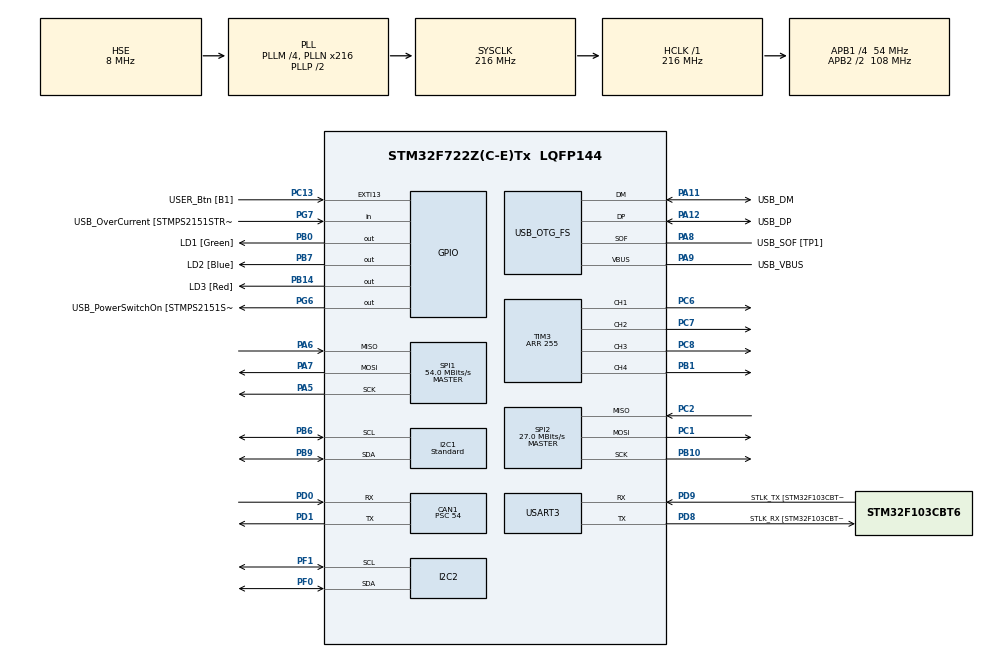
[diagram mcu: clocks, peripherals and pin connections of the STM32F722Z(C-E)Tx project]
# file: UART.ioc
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CAN1.BS1=CAN_BS1_6TQ
CAN1.CalculateBaudRate=125000
CAN1.CalculateTimeBit=8000
CAN1.CalculateTimeQuantum=1000.0
CAN1.Prescaler=54
I2C1.I2C_Speed_Mode=I2C_Standard
I2C1.Timing=0x20404768
I2C2.Timing=0x20404768
Mcu.Family=STM32F7
Mcu.Name=STM32F722Z(C-E)Tx
Mcu.Package=LQFP144
NVIC.PriorityGroup=NVIC_PRIORITYGROUP_4
NVIC.TIM3_IRQn=true\:0\:0\:false\:false\:true\:true\:true\:true
NVIC.USART3_IRQn=true\:0\:0\:false\:false\:true\:true\:true\:true
PA10.GPIO_Label=USB_ID
PA10.Signal=USB_OTG_FS_ID
PA11.GPIO_Label=USB_DM
PA11.Mode=Device_Only
PA11.Signal=USB_OTG_FS_DM
PA12.GPIO_Label=USB_DP
PA12.Mode=Device_Only
PA12.Signal=USB_OTG_FS_DP
PA13.GPIO_Label=TMS
PA13.Mode=Serial_Wire
PA13.Signal=SYS_JTMS-SWDIO
PA14.GPIO_Label=TCK
PA14.Mode=Serial_Wire
PA14.Signal=SYS_JTCK-SWCLK
PA5.Mode=Full_Duplex_Master
PA5.Signal=SPI1_SCK
PA6.Mode=Full_Duplex_Master
PA6.Signal=SPI1_MISO
PA7.Mode=Full_Duplex_Master
PA7.Signal=SPI1_MOSI
PA8.GPIO_Label=USB_SOF [TP1]
PA8.Mode=Activate_SOF_FS
PA8.Signal=USB_OTG_FS_SOF
PA9.GPIO_Label=USB_VBUS
PA9.Mode=Activate_VBUS
PA9.Signal=USB_OTG_FS_VBUS
PB0.GPIO_Label=LD1 [Green]
PB0.Signal=GPIO_Output
PB1.Signal=S_TIM3_CH4
PB10.Mode=Full_Duplex_Master
PB10.Signal=SPI2_SCK
PB14.GPIO_Label=LD3 [Red]
PB14.Signal=GPIO_Output
PB3.GPIO_Label=SWO
PB3.Signal=SYS_JTDO-SWO
PB6.Mode=I2C
PB6.Signal=I2C1_SCL
PB7.GPIO_Label=LD2 [Blue]
PB7.Signal=GPIO_Output
PB9.Mode=I2C
PB9.Signal=I2C1_SDA
PC1.Mode=Full_Duplex_Master
PC1.Signal=SPI2_MOSI
PC13.GPIO_Label=USER_Btn [B1]
PC13.Signal=GPXTI13
PC14-OSC32_IN.Mode=LSE-External-Oscillator
PC14-OSC32_IN.Signal=RCC_OSC32_IN
PC15-OSC32_OUT.Mode=LSE-External-Oscillator
PC15-OSC32_OUT.Signal=RCC_OSC32_OUT
PC2.Mode=Full_Duplex_Master
PC2.Signal=SPI2_MISO
PC6.Signal=S_TIM3_CH1
PC7.Signal=S_TIM3_CH2
PC8.Signal=S_TIM3_CH3
PD0.Mode=CAN_Activate
PD0.Signal=CAN1_RX
PD1.Mode=CAN_Activate
PD1.Signal=CAN1_TX
PD8.GPIO_Label=STLK_RX [STM32F103CBT6_PA3]
PD8.Mode=Asynchronous
PD8.Signal=USART3_TX
PD9.GPIO_Label=STLK_TX [STM32F103CBT6_PA2]
PD9.Mode=Asynchronous
PD9.Signal=USART3_RX
PF0.Mode=I2C
PF0.Signal=I2C2_SDA
PF1.Mode=I2C
PF1.Signal=I2C2_SCL
PG6.GPIO_Label=USB_PowerSwitchOn [STMPS2151STR_EN]
PG6.Signal=GPIO_Output
PG7.GPIO_Label=USB_OverCurrent [STMPS2151STR_FAULT]
PG7.Signal=GPIO_Input
PH0-OSC_IN.GPIO_Label=MCO
PH0-OSC_IN.Mode=HSE-External-Clock-Source
PH0-OSC_IN.Signal=RCC_OSC_IN
PH1-OSC_OUT.Mode=HSE-External-Clock-Source
PH1-OSC_OUT.Signal=RCC_OSC_OUT
ProjectManager.HeapSize=0x200
ProjectManager.StackSize=0x400
ProjectManager.TargetToolchain=STM32CubeIDE
RCC.48MHZClocksFreq_Value=24000000
RCC.AHBFreq_Value=216000000
RCC.APB1CLKDivider=RCC_HCLK_DIV4
RCC.APB1Freq_Value=54000000
RCC.APB1TimFreq_Value=108000000
RCC.APB2CLKDivider=RCC_HCLK_DIV2
RCC.APB2Freq_Value=108000000
RCC.APB2TimFreq_Value=216000000
RCC.CortexFreq_Value=216000000
RCC.HCLKFreq_Value=216000000
RCC.HSE_VALUE=8000000
RCC.HSI_VALUE=16000000
RCC.PLLM=4
RCC.PLLMUL=RCC_PLL_MUL9
RCC.PLLN=216
RCC.PLLQ=9
RCC.PRESCALERUSB=RCC_USBCLKSOURCE_PLL_DIV1_5
RCC.SYSCLKFreq_VALUE=216000000
RCC.SYSCLKSource=RCC_SYSCLKSOURCE_PLLCLK
RCC.SYSCLKSourceVirtual=RCC_SYSCLKSOURCE_PLLCLK
RCC.USBFreq_Value=48000000
RCC.VCOOutputFreq_Value=432000000
SH.S_TIM3_CH1.0=TIM3_CH1,PWM Generation1 CH1
SH.S_TIM3_CH2.0=TIM3_CH2,PWM Generation2 CH2
SH.S_TIM3_CH3.0=TIM3_CH3,PWM Generation3 CH3
SH.S_TIM3_CH4.0=TIM3_CH4,PWM Generation4 CH4
SPI1.CalculateBaudRate=54.0 MBits/s
SPI1.Direction=SPI_DIRECTION_2LINES
SPI1.Mode=SPI_MODE_MASTER
SPI1.VirtualType=VM_MASTER
SPI2.CalculateBaudRate=27.0 MBits/s
SPI2.Direction=SPI_DIRECTION_2LINES
SPI2.Mode=SPI_MODE_MASTER
SPI2.VirtualType=VM_MASTER
TIM3.AutoReloadPreload=TIM_AUTORELOAD_PRELOAD_ENABLE
TIM3.Channel-PWM\ Generation1\ CH1=TIM_CHANNEL_1
TIM3.Channel-PWM\ Generation2\ CH2=TIM_CHANNEL_2
TIM3.Channel-PWM\ Generation3\ CH3=TIM_CHANNEL_3
TIM3.Channel-PWM\ Generation4\ CH4=TIM_CHANNEL_4
TIM3.Period=255
TIM3.Pulse-PWM\ Generation1\ CH1=30000
TIM3.Pulse-PWM\ Generation4\ CH4=30000
USART3.VirtualMode-Asynchronous=VM_ASYNC
USB_OTG_FS.VirtualMode=Device_Only
VP_TIM3_VS_ClockSourceINT.Mode=Internal
board=NUCLEO-F722ZE

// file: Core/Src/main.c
/* USER CODE BEGIN Header */
/**
  ******************************************************************************
  * @file           : main.c
  * @brief          : Main program body
  ******************************************************************************
  * @attention
  *
  * Copyright (c) 2025 STMicroelectronics.
  * All rights reserved.
  *
  * This software is licensed under terms that can be found in the LICENSE file
  * in the root directory of this software component.
  * If no LICENSE file comes with this software, it is provided AS-IS.
  *
  ******************************************************************************
  */
/* USER CODE END Header */
#include "main.h"

CAN_HandleTypeDef hcan1;

I2C_HandleTypeDef hi2c1;
I2C_HandleTypeDef hi2c2;

SPI_HandleTypeDef hspi1;
SPI_HandleTypeDef hspi2;

TIM_HandleTypeDef htim3;

UART_HandleTypeDef huart3;

PCD_HandleTypeDef hpcd_USB_OTG_FS;

/* USER CODE BEGIN PV */

char TX[] = "Connected\r\n";
char RX[2];
int msg_app = 0;
int msg_sep = 0;
int msg_end = 0;

/* USER CODE END PV */

void SystemClock_Config(void);
static void MX_GPIO_Init(void);
static void MX_USART3_UART_Init(void);
static void MX_USB_OTG_FS_PCD_Init(void);
static void MX_I2C1_Init(void);
static void MX_SPI1_Init(void);
static void MX_TIM3_Init(void);
static void MX_CAN1_Init(void);
static void MX_SPI2_Init(void);
static void MX_I2C2_Init(void);

int main(void)
{

  /* MCU Configuration--------------------------------------------------------*/

  /* Reset of all peripherals, Initializes the Flash interface and the Systick. */
  HAL_Init();

  /* Configure the system clock */
  SystemClock_Config();

  /* Initialize all configured peripherals */
  MX_GPIO_Init();
  MX_USART3_UART_Init();
  MX_USB_OTG_FS_PCD_Init();
  MX_I2C1_Init();
  MX_SPI1_Init();
  MX_TIM3_Init();
  MX_CAN1_Init();
  MX_SPI2_Init();
  MX_I2C2_Init();
  /* USER CODE BEGIN 2 */
  HAL_UART_Transmit(&huart3, TX, strlen(TX), HAL_MAX_DELAY);
  HAL_TIM_PWM_Start(&htim3, TIM_CHANNEL_1);
  /* USER CODE END 2 */

  /* Infinite loop */
  /* USER CODE BEGIN WHILE */
  while (1)
  {

	  HAL_UART_Receive_IT(&huart3, RX, 1);
    /* USER CODE END WHILE */

    /* USER CODE BEGIN 3 */

	if (msg_app == 1)
	{
		msg_app = 0;
		append_msg(RX);
	}
	else if (msg_sep == 1)
	{
		msg_sep = 0;
		separate_msg(RX);
	}
	else if (msg_end == 1)
	{
		msg_end = 0;
		end_msg(RX);

	}

  }

  /* USER CODE END 3 */
}

void SystemClock_Config(void)
{
  RCC_OscInitTypeDef RCC_OscInitStruct = {0};
  RCC_ClkInitTypeDef RCC_ClkInitStruct = {0};

  /** Configure LSE Drive Capability
  */
  HAL_PWR_EnableBkUpAccess();

  /** Configure the main internal regulator output voltage
  */
  __HAL_RCC_PWR_CLK_ENABLE();
  __HAL_PWR_VOLTAGESCALING_CONFIG(PWR_REGULATOR_VOLTAGE_SCALE1);

  /** Initializes the RCC Oscillators according to the specified parameters
  * in the RCC_OscInitTypeDef structure.
  */
  RCC_OscInitStruct.OscillatorType = RCC_OSCILLATORTYPE_HSE;
  RCC_OscInitStruct.HSEState = RCC_HSE_BYPASS;
  RCC_OscInitStruct.PLL.PLLState = RCC_PLL_ON;
  RCC_OscInitStruct.PLL.PLLSource = RCC_PLLSOURCE_HSE;
  RCC_OscInitStruct.PLL.PLLM = 4;
  RCC_OscInitStruct.PLL.PLLN = 216;
  RCC_OscInitStruct.PLL.PLLP = RCC_PLLP_DIV2;
  RCC_OscInitStruct.PLL.PLLQ = 9;
  if (HAL_RCC_OscConfig(&RCC_OscInitStruct) != HAL_OK)
  {
    Error_Handler();
  }

  /** Activate the Over-Drive mode
  */
  if (HAL_PWREx_EnableOverDrive() != HAL_OK)
  {
    Error_Handler();
  }

  /** Initializes the CPU, AHB and APB buses clocks
  */
  RCC_ClkInitStruct.ClockType = RCC_CLOCKTYPE_HCLK|RCC_CLOCKTYPE_SYSCLK
                              |RCC_CLOCKTYPE_PCLK1|RCC_CLOCKTYPE_PCLK2;
  RCC_ClkInitStruct.SYSCLKSource = RCC_SYSCLKSOURCE_PLLCLK;
  RCC_ClkInitStruct.AHBCLKDivider = RCC_SYSCLK_DIV1;
  RCC_ClkInitStruct.APB1CLKDivider = RCC_HCLK_DIV4;
  RCC_ClkInitStruct.APB2CLKDivider = RCC_HCLK_DIV2;

  if (HAL_RCC_ClockConfig(&RCC_ClkInitStruct, FLASH_LATENCY_7) != HAL_OK)
  {
    Error_Handler();
  }
}

static void MX_CAN1_Init(void)
{

  hcan1.Instance = CAN1;
  hcan1.Init.Prescaler = 54;
  hcan1.Init.Mode = CAN_MODE_NORMAL;
  hcan1.Init.SyncJumpWidth = CAN_SJW_1TQ;
  hcan1.Init.TimeSeg1 = CAN_BS1_6TQ;
  hcan1.Init.TimeSeg2 = CAN_BS2_1TQ;
  hcan1.Init.TimeTriggeredMode = DISABLE;
  hcan1.Init.AutoBusOff = DISABLE;
  hcan1.Init.AutoWakeUp = DISABLE;
  hcan1.Init.AutoRetransmission = DISABLE;
  hcan1.Init.ReceiveFifoLocked = DISABLE;
  hcan1.Init.TransmitFifoPriority = DISABLE;
  if (HAL_CAN_Init(&hcan1) != HAL_OK)
  {
    Error_Handler();
  }

}

static void MX_I2C1_Init(void)
{

  hi2c1.Instance = I2C1;
  hi2c1.Init.Timing = 0x20404768;
  hi2c1.Init.OwnAddress1 = 0;
  hi2c1.Init.AddressingMode = I2C_ADDRESSINGMODE_7BIT;
  hi2c1.Init.DualAddressMode = I2C_DUALADDRESS_DISABLE;
  hi2c1.Init.OwnAddress2 = 0;
  hi2c1.Init.OwnAddress2Masks = I2C_OA2_NOMASK;
  hi2c1.Init.GeneralCallMode = I2C_GENERALCALL_DISABLE;
  hi2c1.Init.NoStretchMode = I2C_NOSTRETCH_DISABLE;
  if (HAL_I2C_Init(&hi2c1) != HAL_OK)
  {
    Error_Handler();
  }

  /** Configure Analogue filter
  */
  if (HAL_I2CEx_ConfigAnalogFilter(&hi2c1, I2C_ANALOGFILTER_ENABLE) != HAL_OK)
  {
    Error_Handler();
  }

  /** Configure Digital filter
  */
  if (HAL_I2CEx_ConfigDigitalFilter(&hi2c1, 0) != HAL_OK)
  {
    Error_Handler();
  }

}

static void MX_I2C2_Init(void)
{

  hi2c2.Instance = I2C2;
  hi2c2.Init.Timing = 0x20404768;
  hi2c2.Init.OwnAddress1 = 0;
  hi2c2.Init.AddressingMode = I2C_ADDRESSINGMODE_7BIT;
  hi2c2.Init.DualAddressMode = I2C_DUALADDRESS_DISABLE;
  hi2c2.Init.OwnAddress2 = 0;
  hi2c2.Init.OwnAddress2Masks = I2C_OA2_NOMASK;
  hi2c2.Init.GeneralCallMode = I2C_GENERALCALL_DISABLE;
  hi2c2.Init.NoStretchMode = I2C_NOSTRETCH_DISABLE;
  if (HAL_I2C_Init(&hi2c2) != HAL_OK)
  {
    Error_Handler();
  }

  /** Configure Analogue filter
  */
  if (HAL_I2CEx_ConfigAnalogFilter(&hi2c2, I2C_ANALOGFILTER_ENABLE) != HAL_OK)
  {
    Error_Handler();
  }

  /** Configure Digital filter
  */
  if (HAL_I2CEx_ConfigDigitalFilter(&hi2c2, 0) != HAL_OK)
  {
    Error_Handler();
  }

}

static void MX_SPI1_Init(void)
{

  /* SPI1 parameter configuration*/
  hspi1.Instance = SPI1;
  hspi1.Init.Mode = SPI_MODE_MASTER;
  hspi1.Init.Direction = SPI_DIRECTION_2LINES;
  hspi1.Init.DataSize = SPI_DATASIZE_4BIT;
  hspi1.Init.CLKPolarity = SPI_POLARITY_LOW;
  hspi1.Init.CLKPhase = SPI_PHASE_1EDGE;
  hspi1.Init.NSS = SPI_NSS_SOFT;
  hspi1.Init.BaudRatePrescaler = SPI_BAUDRATEPRESCALER_2;
  hspi1.Init.FirstBit = SPI_FIRSTBIT_MSB;
  hspi1.Init.TIMode = SPI_TIMODE_DISABLE;
  hspi1.Init.CRCCalculation = SPI_CRCCALCULATION_DISABLE;
  hspi1.Init.CRCPolynomial = 7;
  hspi1.Init.CRCLength = SPI_CRC_LENGTH_DATASIZE;
  hspi1.Init.NSSPMode = SPI_NSS_PULSE_ENABLE;
  if (HAL_SPI_Init(&hspi1) != HAL_OK)
  {
    Error_Handler();
  }

}

static void MX_SPI2_Init(void)
{

  /* SPI2 parameter configuration*/
  hspi2.Instance = SPI2;
  hspi2.Init.Mode = SPI_MODE_MASTER;
  hspi2.Init.Direction = SPI_DIRECTION_2LINES;
  hspi2.Init.DataSize = SPI_DATASIZE_4BIT;
  hspi2.Init.CLKPolarity = SPI_POLARITY_LOW;
  hspi2.Init.CLKPhase = SPI_PHASE_1EDGE;
  hspi2.Init.NSS = SPI_NSS_SOFT;
  hspi2.Init.BaudRatePrescaler = SPI_BAUDRATEPRESCALER_2;
  hspi2.Init.FirstBit = SPI_FIRSTBIT_MSB;
  hspi2.Init.TIMode = SPI_TIMODE_DISABLE;
  hspi2.Init.CRCCalculation = SPI_CRCCALCULATION_DISABLE;
  hspi2.Init.CRCPolynomial = 7;
  hspi2.Init.CRCLength = SPI_CRC_LENGTH_DATASIZE;
  hspi2.Init.NSSPMode = SPI_NSS_PULSE_ENABLE;
  if (HAL_SPI_Init(&hspi2) != HAL_OK)
  {
    Error_Handler();
  }

}

static void MX_TIM3_Init(void)
{

  TIM_ClockConfigTypeDef sClockSourceConfig = {0};
  TIM_MasterConfigTypeDef sMasterConfig = {0};
  TIM_OC_InitTypeDef sConfigOC = {0};

  htim3.Instance = TIM3;
  htim3.Init.Prescaler = 0;
  htim3.Init.CounterMode = TIM_COUNTERMODE_UP;
  htim3.Init.Period = 255;
  htim3.Init.ClockDivision = TIM_CLOCKDIVISION_DIV1;
  htim3.Init.AutoReloadPreload = TIM_AUTORELOAD_PRELOAD_ENABLE;
  if (HAL_TIM_Base_Init(&htim3) != HAL_OK)
  {
    Error_Handler();
  }
  sClockSourceConfig.ClockSource = TIM_CLOCKSOURCE_INTERNAL;
  if (HAL_TIM_ConfigClockSource(&htim3, &sClockSourceConfig) != HAL_OK)
  {
    Error_Handler();
  }
  if (HAL_TIM_PWM_Init(&htim3) != HAL_OK)
  {
    Error_Handler();
  }
  sMasterConfig.MasterOutputTrigger = TIM_TRGO_RESET;
  sMasterConfig.MasterSlaveMode = TIM_MASTERSLAVEMODE_DISABLE;
  if (HAL_TIMEx_MasterConfigSynchronization(&htim3, &sMasterConfig) != HAL_OK)
  {
    Error_Handler();
  }
  sConfigOC.OCMode = TIM_OCMODE_PWM1;
  sConfigOC.Pulse = 30000;
  sConfigOC.OCPolarity = TIM_OCPOLARITY_HIGH;
  sConfigOC.OCFastMode = TIM_OCFAST_DISABLE;
  if (HAL_TIM_PWM_ConfigChannel(&htim3, &sConfigOC, TIM_CHANNEL_1) != HAL_OK)
  {
    Error_Handler();
  }
  sConfigOC.Pulse = 0;
  if (HAL_TIM_PWM_ConfigChannel(&htim3, &sConfigOC, TIM_CHANNEL_2) != HAL_OK)
  {
    Error_Handler();
  }
  if (HAL_TIM_PWM_ConfigChannel(&htim3, &sConfigOC, TIM_CHANNEL_3) != HAL_OK)
  {
    Error_Handler();
  }
  sConfigOC.Pulse = 30000;
  if (HAL_TIM_PWM_ConfigChannel(&htim3, &sConfigOC, TIM_CHANNEL_4) != HAL_OK)
  {
    Error_Handler();
  }
  HAL_TIM_MspPostInit(&htim3);

}

static void MX_USART3_UART_Init(void)
{

  huart3.Instance = USART3;
  huart3.Init.BaudRate = 115200;
  huart3.Init.WordLength = UART_WORDLENGTH_8B;
  huart3.Init.StopBits = UART_STOPBITS_1;
  huart3.Init.Parity = UART_PARITY_NONE;
  huart3.Init.Mode = UART_MODE_TX_RX;
  huart3.Init.HwFlowCtl = UART_HWCONTROL_NONE;
  huart3.Init.OverSampling = UART_OVERSAMPLING_16;
  huart3.Init.OneBitSampling = UART_ONE_BIT_SAMPLE_DISABLE;
  huart3.AdvancedInit.AdvFeatureInit = UART_ADVFEATURE_NO_INIT;
  if (HAL_UART_Init(&huart3) != HAL_OK)
  {
    Error_Handler();
  }

}

static void MX_USB_OTG_FS_PCD_Init(void)
{

  hpcd_USB_OTG_FS.Instance = USB_OTG_FS;
  hpcd_USB_OTG_FS.Init.dev_endpoints = 6;
  hpcd_USB_OTG_FS.Init.speed = PCD_SPEED_FULL;
  hpcd_USB_OTG_FS.Init.dma_enable = DISABLE;
  hpcd_USB_OTG_FS.Init.phy_itface = PCD_PHY_EMBEDDED;
  hpcd_USB_OTG_FS.Init.Sof_enable = ENABLE;
  hpcd_USB_OTG_FS.Init.low_power_enable = DISABLE;
  hpcd_USB_OTG_FS.Init.lpm_enable = DISABLE;
  hpcd_USB_OTG_FS.Init.battery_charging_enable = ENABLE;
  hpcd_USB_OTG_FS.Init.vbus_sensing_enable = ENABLE;
  hpcd_USB_OTG_FS.Init.use_dedicated_ep1 = DISABLE;
  if (HAL_PCD_Init(&hpcd_USB_OTG_FS) != HAL_OK)
  {
    Error_Handler();
  }

}

static void MX_GPIO_Init(void)
{
  GPIO_InitTypeDef GPIO_InitStruct = {0};

  /* GPIO Ports Clock Enable */
  __HAL_RCC_GPIOC_CLK_ENABLE();
  __HAL_RCC_GPIOF_CLK_ENABLE();
  __HAL_RCC_GPIOH_CLK_ENABLE();
  __HAL_RCC_GPIOA_CLK_ENABLE();
  __HAL_RCC_GPIOB_CLK_ENABLE();
  __HAL_RCC_GPIOD_CLK_ENABLE();
  __HAL_RCC_GPIOG_CLK_ENABLE();

  /*Configure GPIO pin Output Level */
  HAL_GPIO_WritePin(GPIOB, LD1_Pin|LD3_Pin|LD2_Pin, GPIO_PIN_RESET);

  /*Configure GPIO pin Output Level */
  HAL_GPIO_WritePin(USB_PowerSwitchOn_GPIO_Port, USB_PowerSwitchOn_Pin, GPIO_PIN_RESET);

  /*Configure GPIO pin : USER_Btn_Pin */
  GPIO_InitStruct.Pin = USER_Btn_Pin;
  GPIO_InitStruct.Mode = GPIO_MODE_IT_RISING;
  GPIO_InitStruct.Pull = GPIO_NOPULL;
  HAL_GPIO_Init(USER_Btn_GPIO_Port, &GPIO_InitStruct);

  /*Configure GPIO pins : LD1_Pin LD3_Pin LD2_Pin */
  GPIO_InitStruct.Pin = LD1_Pin|LD3_Pin|LD2_Pin;
  GPIO_InitStruct.Mode = GPIO_MODE_OUTPUT_PP;
  GPIO_InitStruct.Pull = GPIO_NOPULL;
  GPIO_InitStruct.Speed = GPIO_SPEED_FREQ_LOW;
  HAL_GPIO_Init(GPIOB, &GPIO_InitStruct);

  /*Configure GPIO pin : USB_PowerSwitchOn_Pin */
  GPIO_InitStruct.Pin = USB_PowerSwitchOn_Pin;
  GPIO_InitStruct.Mode = GPIO_MODE_OUTPUT_PP;
  GPIO_InitStruct.Pull = GPIO_NOPULL;
  GPIO_InitStruct.Speed = GPIO_SPEED_FREQ_LOW;
  HAL_GPIO_Init(USB_PowerSwitchOn_GPIO_Port, &GPIO_InitStruct);

  /*Configure GPIO pin : USB_OverCurrent_Pin */
  GPIO_InitStruct.Pin = USB_OverCurrent_Pin;
  GPIO_InitStruct.Mode = GPIO_MODE_INPUT;
  GPIO_InitStruct.Pull = GPIO_NOPULL;
  HAL_GPIO_Init(USB_OverCurrent_GPIO_Port, &GPIO_InitStruct);

}

/* USER CODE BEGIN 4 */
void HAL_UART_RxCpltCallback(UART_HandleTypeDef *huart)
{
  /* Prevent unused argument(s) compilation warning */
  UNUSED(huart);

  /* NOTE : This function should not be modified, when the callback is needed,
            the HAL_UART_RxCpltCallback can be implemented in the user file.
   */

	if (RX[0] == ';')
	{
	  msg_end = 1;
	}
	else if (RX[0] == '_')
	{
	 msg_sep = 1;
	}
	else
	{
	  msg_app = 1;
	}

}

/* USER CODE END 4 */

void Error_Handler(void)
{
  __disable_irq();
  while (1)
  {
  }
}
